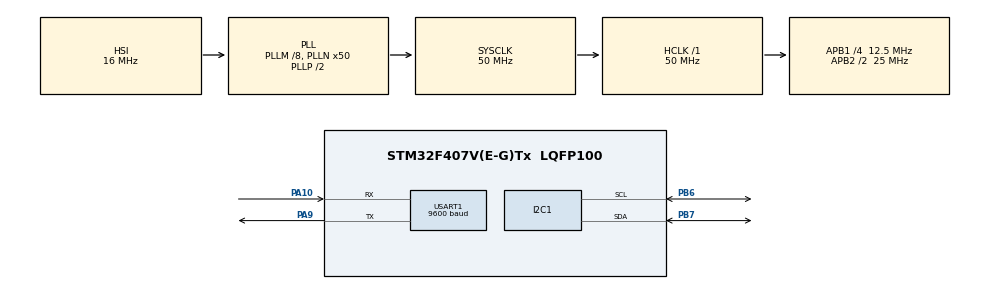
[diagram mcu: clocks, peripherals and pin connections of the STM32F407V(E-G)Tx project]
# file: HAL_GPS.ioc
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Mcu.Family=STM32F4
Mcu.Name=STM32F407V(E-G)Tx
Mcu.Package=LQFP100
NVIC.PriorityGroup=NVIC_PRIORITYGROUP_0
PA10.Mode=Asynchronous
PA10.Signal=USART1_RX
PA9.Mode=Asynchronous
PA9.Signal=USART1_TX
PB6.Mode=I2C
PB6.Signal=I2C1_SCL
PB7.Mode=I2C
PB7.Signal=I2C1_SDA
ProjectManager.HeapSize=0x200
ProjectManager.StackSize=0x400
ProjectManager.TargetToolchain=STM32CubeIDE
RCC.48MHZClocksFreq_Value=14285714.285714285
RCC.AHBFreq_Value=50000000
RCC.APB1CLKDivider=RCC_HCLK_DIV4
RCC.APB1Freq_Value=12500000
RCC.APB1TimFreq_Value=25000000
RCC.APB2CLKDivider=RCC_HCLK_DIV2
RCC.APB2Freq_Value=25000000
RCC.APB2TimFreq_Value=50000000
RCC.CortexFreq_Value=50000000
RCC.HCLKFreq_Value=50000000
RCC.HSE_VALUE=8000000
RCC.HSI_VALUE=16000000
RCC.PLLM=8
RCC.PLLN=50
RCC.PLLQ=7
RCC.SYSCLKFreq_VALUE=50000000
RCC.SYSCLKSource=RCC_SYSCLKSOURCE_PLLCLK
RCC.VCOOutputFreq_Value=100000000
USART1.BaudRate=9600
USART1.VirtualMode=VM_ASYNC
board=STM32F407G-DISC1

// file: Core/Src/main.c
/* USER CODE BEGIN Header */
/**
  ******************************************************************************
  * @file           : main.c
  * @brief          : Main program body
  ******************************************************************************
  * @attention
  *
  * Copyright (c) 2025 STMicroelectronics.
  * All rights reserved.
  *
  * This software is licensed under terms that can be found in the LICENSE file
  * in the root directory of this software component.
  * If no LICENSE file comes with this software, it is provided AS-IS.
  *
  ******************************************************************************
  */
/* USER CODE END Header */
#include "main.h"

/* USER CODE BEGIN Includes */
#include "main.h"
#include "GPS.h"
#include "lcd.h"
#include <string.h>
#include <stdio.h>
/* USER CODE END Includes */

I2C_HandleTypeDef hi2c1;

UART_HandleTypeDef huart1;

/* USER CODE BEGIN PV */
char latitude[20];
char longitude[20];
/* USER CODE END PV */

void SystemClock_Config(void);
static void MX_GPIO_Init(void);
static void MX_I2C1_Init(void);
static void MX_USART1_UART_Init(void);

int main(void)
{

  /* MCU Configuration--------------------------------------------------------*/

  /* Reset of all peripherals, Initializes the Flash interface and the Systick. */
  HAL_Init();

  /* Configure the system clock */
  SystemClock_Config();

  /* Initialize all configured peripherals */
  MX_GPIO_Init();
  MX_I2C1_Init();
  MX_USART1_UART_Init();
  /* USER CODE BEGIN 2 */
  LcdInit(&hi2c1);
      LcdPuts(LCD_LINE1, "Waiting GPS...");
      HAL_Delay(1000);
  //LcdPuts(LCD_LINE1, "lcd test");
  /* USER CODE END 2 */

  /* Infinite loop */
  /* USER CODE BEGIN WHILE */
  while (1)
  {
	  if (GPS_Read_Location(latitude, longitude)) {
	              char line1[20];
	              char line2[20];

	              snprintf(line1, sizeof(line1), "Lat:%s", latitude);
	              snprintf(line2, sizeof(line2), "Lon:%s", longitude);

	              LcdPuts(LCD_LINE1, line1);
	              LcdPuts(LCD_LINE2, line2);
	          }
	          else
	          {
	              LcdPuts(LCD_LINE1, "Waiting GPS");
	          }

	          HAL_Delay(2000);
    /* USER CODE END WHILE */

  }
}

void SystemClock_Config(void)
{
  RCC_OscInitTypeDef RCC_OscInitStruct = {0};
  RCC_ClkInitTypeDef RCC_ClkInitStruct = {0};

  /** Configure the main internal regulator output voltage
  */
  __HAL_RCC_PWR_CLK_ENABLE();
  __HAL_PWR_VOLTAGESCALING_CONFIG(PWR_REGULATOR_VOLTAGE_SCALE1);

  /** Initializes the RCC Oscillators according to the specified parameters
  * in the RCC_OscInitTypeDef structure.
  */
  RCC_OscInitStruct.OscillatorType = RCC_OSCILLATORTYPE_HSI;
  RCC_OscInitStruct.HSIState = RCC_HSI_ON;
  RCC_OscInitStruct.HSICalibrationValue = RCC_HSICALIBRATION_DEFAULT;
  RCC_OscInitStruct.PLL.PLLState = RCC_PLL_ON;
  RCC_OscInitStruct.PLL.PLLSource = RCC_PLLSOURCE_HSI;
  RCC_OscInitStruct.PLL.PLLM = 8;
  RCC_OscInitStruct.PLL.PLLN = 50;
  RCC_OscInitStruct.PLL.PLLP = RCC_PLLP_DIV2;
  RCC_OscInitStruct.PLL.PLLQ = 7;
  if (HAL_RCC_OscConfig(&RCC_OscInitStruct) != HAL_OK)
  {
    Error_Handler();
  }

  /** Initializes the CPU, AHB and APB buses clocks
  */
  RCC_ClkInitStruct.ClockType = RCC_CLOCKTYPE_HCLK|RCC_CLOCKTYPE_SYSCLK
                              |RCC_CLOCKTYPE_PCLK1|RCC_CLOCKTYPE_PCLK2;
  RCC_ClkInitStruct.SYSCLKSource = RCC_SYSCLKSOURCE_PLLCLK;
  RCC_ClkInitStruct.AHBCLKDivider = RCC_SYSCLK_DIV1;
  RCC_ClkInitStruct.APB1CLKDivider = RCC_HCLK_DIV4;
  RCC_ClkInitStruct.APB2CLKDivider = RCC_HCLK_DIV2;

  if (HAL_RCC_ClockConfig(&RCC_ClkInitStruct, FLASH_LATENCY_1) != HAL_OK)
  {
    Error_Handler();
  }
}

static void MX_I2C1_Init(void)
{

  hi2c1.Instance = I2C1;
  hi2c1.Init.ClockSpeed = 100000;
  hi2c1.Init.DutyCycle = I2C_DUTYCYCLE_2;
  hi2c1.Init.OwnAddress1 = 0;
  hi2c1.Init.AddressingMode = I2C_ADDRESSINGMODE_7BIT;
  hi2c1.Init.DualAddressMode = I2C_DUALADDRESS_DISABLE;
  hi2c1.Init.OwnAddress2 = 0;
  hi2c1.Init.GeneralCallMode = I2C_GENERALCALL_DISABLE;
  hi2c1.Init.NoStretchMode = I2C_NOSTRETCH_DISABLE;
  if (HAL_I2C_Init(&hi2c1) != HAL_OK)
  {
    Error_Handler();
  }

}

static void MX_USART1_UART_Init(void)
{

  huart1.Instance = USART1;
  huart1.Init.BaudRate = 9600;
  huart1.Init.WordLength = UART_WORDLENGTH_8B;
  huart1.Init.StopBits = UART_STOPBITS_1;
  huart1.Init.Parity = UART_PARITY_NONE;
  huart1.Init.Mode = UART_MODE_TX_RX;
  huart1.Init.HwFlowCtl = UART_HWCONTROL_NONE;
  huart1.Init.OverSampling = UART_OVERSAMPLING_16;
  if (HAL_UART_Init(&huart1) != HAL_OK)
  {
    Error_Handler();
  }

}

static void MX_GPIO_Init(void)
{

  /* GPIO Ports Clock Enable */
  __HAL_RCC_GPIOA_CLK_ENABLE();
  __HAL_RCC_GPIOB_CLK_ENABLE();

}

void Error_Handler(void)
{
  __disable_irq();
  while (1)
  {
  }
}
